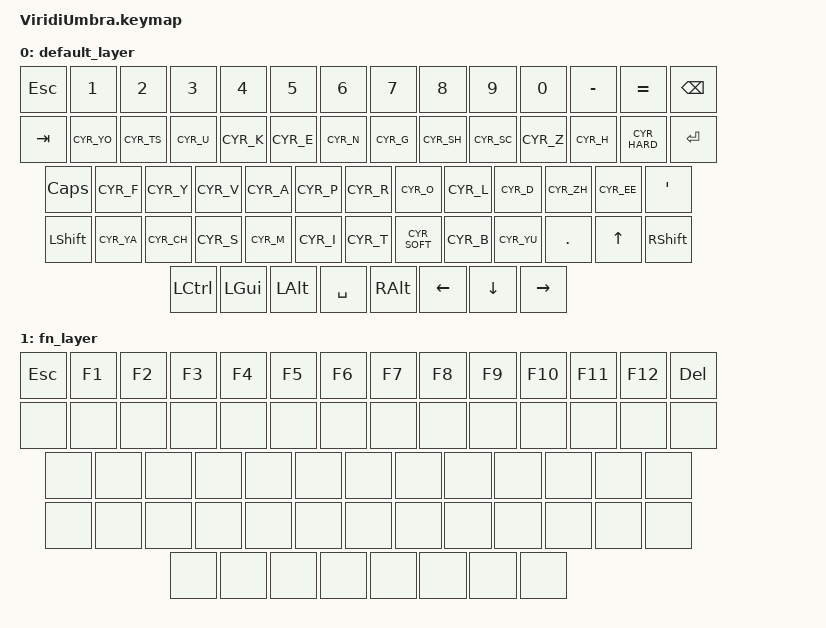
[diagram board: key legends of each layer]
/ {
    keymap {
        compatible = "zmk,keymap";

        default_layer {
            bindings = <
                // ┌─────────────────────────────────────────────┐
                // │ Esc │ 1 │ 2 │ 3 │ 4 │ 5 │ 6 │ 7 │ 8 │ 9 │ 0 │ - │ = │ Back │
                // └─────────────────────────────────────────────┘
                &kp ESC     &kp N1      &kp N2     &kp N3     &kp N4     &kp N5     &kp N6     &kp N7     &kp N8     &kp N9     &kp N0     &kp MINUS   &kp EQUAL   &kp BSPC

                // ┌─────────────────────────────────────────────┐
                // │ Tab │ Й │ Ц │ У │ К │ Е │ Н │ Г │ Ш │ Щ │ З │ Х │ Ъ │  Enter │
                // └─────────────────────────────────────────────┘
                &kp TAB     &kp CYR_YO  &kp CYR_TS &kp CYR_U  &kp CYR_K  &kp CYR_E  &kp CYR_N  &kp CYR_G  &kp CYR_SH &kp CYR_SC &kp CYR_Z  &kp CYR_H  &kp CYR_HARD &kp ENTER

                // ┌─────────────────────────────────────────────┐
                // │ Caps │ Ф │ Ы │ В │ А │ П │ Р │ О │ Л │ Д │ Ж │ Э │ ' │
                // └─────────────────────────────────────────────┘
                &kp CAPS    &kp CYR_F  &kp CYR_Y  &kp CYR_V  &kp CYR_A  &kp CYR_P  &kp CYR_R  &kp CYR_O  &kp CYR_L  &kp CYR_D  &kp CYR_ZH &kp CYR_EE &kp SQT

                // ┌─────────────────────────────────────────────┐
                // │ Shift │ Я │ Ч │ С │ М │ И │ Т │ Ь │ Б │ Ю │ . │ ↑ │ Shift │
                // └─────────────────────────────────────────────┘
                &kp LSHIFT  &kp CYR_YA &kp CYR_CH &kp CYR_S &kp CYR_M &kp CYR_I &kp CYR_T &kp CYR_SOFT &kp CYR_B &kp CYR_YU &kp DOT &kp UP &kp RSHIFT

                // ┌─────────────────────────────────────────────┐
                // │ Ctrl │ Win │ Alt │ Space │ Alt │ ← │ ↓ │ → │
                // └─────────────────────────────────────────────┘
                &kp LCTRL  &kp LGUI  &kp LALT  &kp SPACE  &kp RALT  &kp LEFT  &kp DOWN  &kp RIGHT
            >;
        };

        // Второй слой (например, символы и функции)
        fn_layer {
            bindings = <
                &kp ESC    &kp F1 &kp F2 &kp F3 &kp F4 &kp F5 &kp F6 &kp F7 &kp F8 &kp F9 &kp F10 &kp F11 &kp F12 &kp DEL
                &none &none &none &none &none &none &none &none &none &none &none &none &none &none
                &none &none &none &none &none &none &none &none &none &none &none &none &none
                &none &none &none &none &none &none &none &none &none &none &none &none &none
                &none &none &none &none &none &none &none &none
            >;
        };
    };
};
